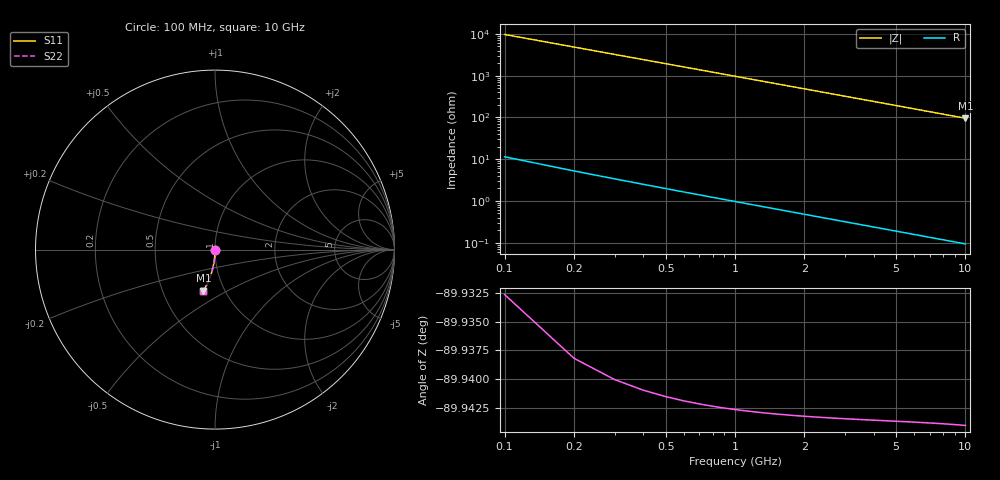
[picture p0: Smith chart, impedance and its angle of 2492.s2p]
# Hz S RI R 50.00
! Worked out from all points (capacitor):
!   100 points, 100 MHz to 10 GHz, reference 50 ohm
!   read as one part in shunt: C = 164 fF near 100 MHz
!   lowest |Z| = 95.6 ohm at 10 GHz (marker M1)
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1e8  3.05e-05 -0.00242  1 -0.00274  1 -0.00274  3.05e-05 -0.00242
2e8  8.38e-06 -0.00484  0.9999 -0.00547  0.9999 -0.00547  8.38e-06 -0.00484
3e8  -2.71e-05 -0.00726  0.9999 -0.00821  0.9999 -0.00821  -2.71e-05 -0.00726
4e8  -7.58e-05 -0.00968  0.9998 -0.0109  0.9998 -0.0109  -7.58e-05 -0.00968
5e8  -0.000138 -0.0121  0.9998 -0.0137  0.9998 -0.0137  -0.000138 -0.0121
6e8  -0.000213 -0.0145  0.9997 -0.0164  0.9997 -0.0164  -0.000213 -0.0145
7e8  -0.000302 -0.0169  0.9996 -0.0192  0.9996 -0.0192  -0.000302 -0.0169
8e8  -0.000403 -0.0194  0.9995 -0.0219  0.9995 -0.0219  -0.000403 -0.0194
9e8  -0.000518 -0.0218  0.9994 -0.0246  0.9994 -0.0246  -0.000518 -0.0218
1.1e9  -0.000789 -0.0266  0.9991 -0.0301  0.9991 -0.0301  -0.000789 -0.0266
1.4e9  -0.00129 -0.0339  0.9986 -0.0383  0.9986 -0.0383  -0.00129 -0.0339
1.8e9  -0.00215 -0.0435  0.9977 -0.0492  0.9977 -0.0492  -0.00215 -0.0435
2.1e9  -0.00294 -0.0508  0.997 -0.0574  0.997 -0.0574  -0.00294 -0.0508
2.5e9  -0.00417 -0.0604  0.9957 -0.0683  0.9957 -0.0683  -0.00417 -0.0604
2.9e9  -0.00561 -0.07  0.9943 -0.0792  0.9943 -0.0792  -0.00561 -0.07
3.4e9  -0.00771 -0.082  0.9921 -0.0928  0.9921 -0.0928  -0.00771 -0.082
4.2e9  -0.0118 -0.101  0.9881 -0.1144  0.9881 -0.1144  -0.0118 -0.101
5.1e9  -0.0173 -0.1222  0.9825 -0.1384  0.9825 -0.1384  -0.0173 -0.1222
5.9e9  -0.0231 -0.1407  0.9767 -0.1595  0.9767 -0.1595  -0.0231 -0.1407
6.7e9  -0.0296 -0.1588  0.97 -0.1803  0.97 -0.1803  -0.0296 -0.1588
8.4e9  -0.0461 -0.1961  0.9535 -0.2232  0.9535 -0.2232  -0.0461 -0.1961
1e10  -0.0644 -0.2293  0.935 -0.2617  0.935 -0.2617  -0.0644 -0.2293
